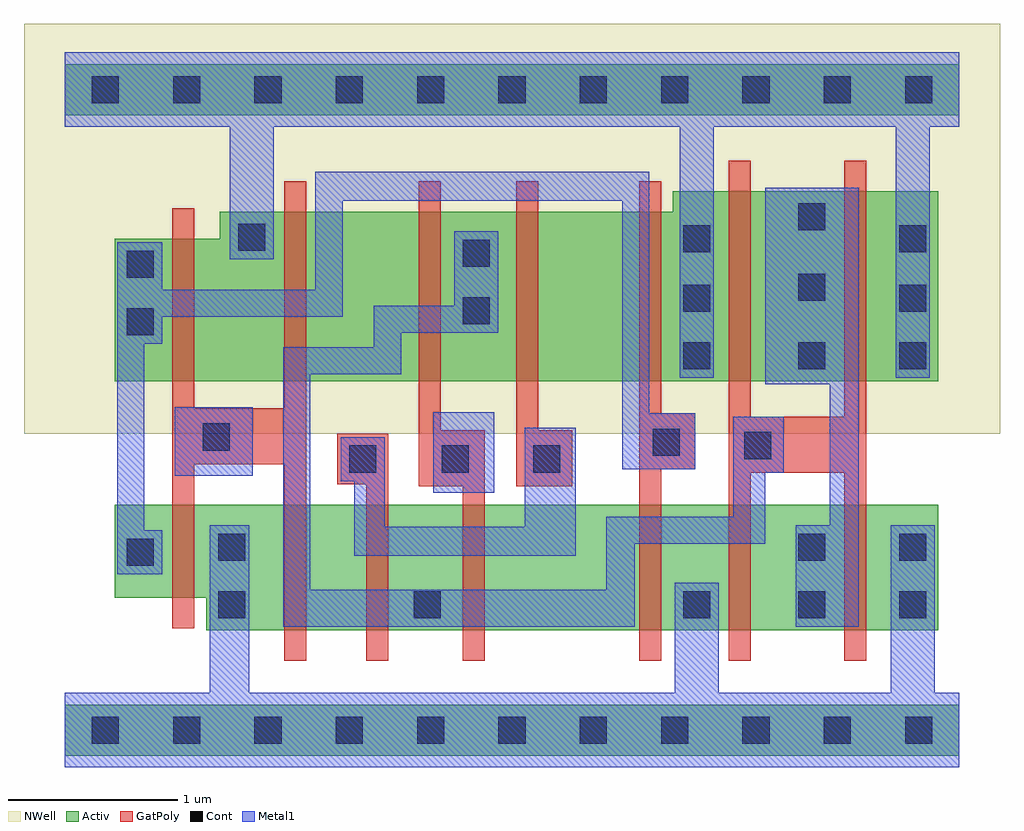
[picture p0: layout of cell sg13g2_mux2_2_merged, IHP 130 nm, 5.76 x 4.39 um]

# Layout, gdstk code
import gdstk
lib = gdstk.Library(unit=1e-6, precision=1e-09)
def R(c, l, rs):  # rectangles x0, y0, x1, y1
    for r in rs: c.add(gdstk.rectangle(r[:2], r[2:], *l))
def A(c, l, x, y, w, h, nx, ny, dx, dy):  # array of equal rectangles
    R(c, l, [(x+i*dx, y+j*dy, x+i*dx+w, y+j*dy+h) for i in range(nx) for j in range(ny)])
def P(c, l, *ps):  # polygons
    for p in ps: c.add(gdstk.Polygon(p, *l))
Activ = (1, 0)
GatPoly = (5, 0)
Cont = (6, 0)
Metal1 = (8, 0)
NWell = (31, 0)

sg13g2_mux2_2_merged = lib.new_cell('sg13g2_mux2_2_merged')
R(sg13g2_mux2_2_merged, Activ, [(0,-0.15,5.28,0.15), (0,3.63,5.28,3.93)])
P(sg13g2_mux2_2_merged, Activ, [(0.835,0.59),(0.835,0.78),(0.295,0.78),(0.295,1.33),(5.155,1.33),(5.155,0.59)],
  [(0.295,2.06),(0.295,2.9),(0.915,2.9),(0.915,3.06),(3.59,3.06),(3.59,3.18),(5.155,3.18),(5.155,2.06)])
P(sg13g2_mux2_2_merged, GatPoly, [(1.78,0.41),(1.78,1.45),(1.61,1.45),(1.61,1.75),(1.91,1.75),(1.91,0.41)],
  [(1.295,0.41),(1.295,1.57),(0.765,1.57),(0.765,0.6),(0.635,0.6),(0.635,3.08),(0.765,3.08),(0.765,1.9),(1.295,1.9),(1.295,3.24),(1.425,3.24),(1.425,0.41)],
  [(2.35,0.41),(2.35,1.44),(2.09,1.44),(2.09,3.24),(2.22,3.24),(2.22,1.77),(2.48,1.77),(2.48,0.41)],
  [(2.665,1.44),(2.665,3.24),(2.795,3.24),(2.795,1.77),(2.995,1.77),(2.995,1.44)],
  [(3.39,0.41),(3.39,3.24),(3.52,3.24),(3.52,1.87),(3.72,1.87),(3.72,1.54),(3.52,1.54),(3.52,0.41)],
  [(3.92,0.41),(3.92,3.36),(4.05,3.36),(4.05,1.85),(4.6,1.85),(4.6,3.36),(4.73,3.36),(4.73,0.41),(4.6,0.41),(4.6,1.52),(4.05,1.52),(4.05,0.41)])
A(sg13g2_mux2_2_merged, Cont, 0.16, -0.08, 0.16, 0.16, 11, 2, 0.48, 3.78)
R(sg13g2_mux2_2_merged, Cont, [(0.905,0.66,1.065,0.82), (2.06,0.66,2.22,0.82), (3.65,0.66,3.81,0.82), (4.33,0.66,4.49,0.82), (4.925,0.66,5.085,0.82), (0.365,0.97,0.525,1.13), (0.905,1,1.065,1.16), (4.33,1,4.49,1.16), (4.925,1,5.085,1.16), (1.68,1.52,1.84,1.68), (2.225,1.52,2.385,1.68), (2.765,1.52,2.925,1.68), (4.01,1.6,4.17,1.76), (3.47,1.62,3.63,1.78), (0.815,1.65,0.975,1.81), (3.65,2.13,3.81,2.29), (4.33,2.13,4.49,2.29), (4.925,2.13,5.085,2.29), (0.365,2.33,0.525,2.49), (2.35,2.395,2.51,2.555), (3.65,2.47,3.81,2.63), (4.925,2.47,5.085,2.63), (4.33,2.535,4.49,2.695), (0.365,2.67,0.525,2.83), (2.35,2.735,2.51,2.895), (3.65,2.82,3.81,2.98), (4.925,2.82,5.085,2.98), (1.025,2.83,1.185,2.99), (4.33,2.95,4.49,3.11)])
R(sg13g2_mux2_2_merged, Metal1, [(2.175,1.4,2.535,1.875), (0.65,1.5,1.11,1.905)])
P(sg13g2_mux2_2_merged, Metal1, [(0,-0.22),(0,0.22),(0.855,0.22),(0.855,1.21),(1.09,1.21),(1.09,0.22),(3.6,0.22),(3.6,0.87),(3.86,0.87),(3.86,0.22),(4.875,0.22),(4.875,1.21),(5.135,1.21),(5.135,0.22),(5.28,0.22),(5.28,-0.22)],
  [(1.71,1.03),(1.71,1.47),(1.63,1.47),(1.63,1.73),(1.89,1.73),(1.89,1.2),(2.715,1.2),(2.715,1.785),(3.015,1.785),(3.015,1.03)],
  [(1.29,0.61),(1.29,2.26),(1.825,2.26),(1.825,2.505),(2.3,2.505),(2.3,2.945),(2.56,2.945),(2.56,2.345),(1.985,2.345),(1.985,2.1),(1.45,2.1),(1.45,0.83),(3.195,0.83),(3.195,1.26),(3.945,1.26),(3.945,1.85),(4.245,1.85),(4.245,1.52),(4.135,1.52),(4.135,1.1),(3.365,1.1),(3.365,0.61)],
  [(4.315,0.61),(4.315,1.21),(4.515,1.21),(4.515,2.04),(4.135,2.04),(4.135,3.2),(4.685,3.2),(4.685,0.61)],
  [(0.31,0.92),(0.31,2.88),(0.575,2.88),(0.575,2.6),(1.48,2.6),(1.48,3.295),(3.45,3.295),(3.45,1.87),(3.72,1.87),(3.72,1.54),(3.29,1.54),(3.29,3.125),(1.64,3.125),(1.64,2.44),(0.575,2.44),(0.575,2.28),(0.47,2.28),(0.47,1.18),(0.575,1.18),(0.575,0.92)],
  [(3.63,2.08),(3.63,3.56),(1.235,3.56),(1.235,2.78),(0.975,2.78),(0.975,3.56),(0,3.56),(0,4),(5.28,4),(5.28,3.56),(5.105,3.56),(5.105,2.08),(4.905,2.08),(4.905,3.56),(3.83,3.56),(3.83,2.08)])
R(sg13g2_mux2_2_merged, NWell, [(-0.24,1.75,5.52,4.17)])

lib.write_gds('sg13g2_mux2_2_merged.gds')
